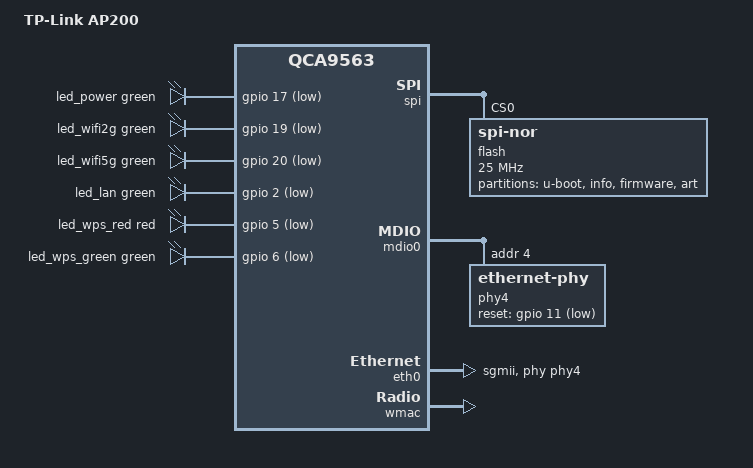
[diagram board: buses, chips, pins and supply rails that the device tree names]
// SPDX-License-Identifier: GPL-2.0-or-later OR MIT
// Device Tree für TP-Link AP200 (QCA9563, AR8033 PHY + SerDes)

#include "qca956x.dtsi"
#include <dt-bindings/gpio/gpio.h>
#include <dt-bindings/leds/common.h>

/ {
    compatible = "tplink,ap200", "qca,qca9563";
    model = "TP-Link AP200";

    aliases {
        label-mac-device = &eth0;

        led-boot     = &led_power;
        led-failsafe = &led_wps_red;
        led-running  = &led_power;
        led-upgrade  = &led_wps_red;
    };

    leds {
        compatible = "gpio-leds";

        led_power: power {
            function = LED_FUNCTION_POWER;
            color = <LED_COLOR_ID_GREEN>;
            gpios = <&gpio 17 GPIO_ACTIVE_LOW>;
            default-state = "on";
        };

        led_wifi2g: wifi2g {
            function = LED_FUNCTION_WLAN_2GHZ;
            color = <LED_COLOR_ID_GREEN>;
            gpios = <&gpio 19 GPIO_ACTIVE_LOW>;
            default-state = "off";
        };

        led_wifi5g: wifi5g {
            function = LED_FUNCTION_WLAN_5GHZ;
            color = <LED_COLOR_ID_GREEN>;
            gpios = <&gpio 20 GPIO_ACTIVE_LOW>;
            default-state = "off";
        };

        led_lan: lan {
            function = LED_FUNCTION_LAN;
            color = <LED_COLOR_ID_GREEN>;
            gpios = <&gpio 2 GPIO_ACTIVE_LOW>;
            default-state = "off";
        };

        led_wps_red: wps_red {
            function = LED_FUNCTION_WPS;
            color = <LED_COLOR_ID_RED>;
            gpios = <&gpio 5 GPIO_ACTIVE_LOW>;
            default-state = "off";
        };

        led_wps_green: wps_green {
            function = LED_FUNCTION_WPS;
            color = <LED_COLOR_ID_GREEN>;
            gpios = <&gpio 6 GPIO_ACTIVE_LOW>;
            default-state = "off";
        };
    };
};

/* ---------- SPI Flash und NVMEM ---------- */

&spi {
    status = "okay";

    flash@0 {
        compatible = "jedec,spi-nor";
        reg = <0>;
        spi-max-frequency = <25000000>;

        partitions {
            compatible = "fixed-partitions";
            #address-cells = <1>;
            #size-cells = <1>;

            uboot: partition@0 {
                label = "u-boot";
                reg = <0x000000 0x10000>;
                read-only;
            };

            partition@10000 {
                label = "info";
                reg = <0x10000 0x10000>;
                read-only;

                nvmem-layout {
                    compatible = "fixed-layout";
                    #address-cells = <1>;
                    #size-cells = <1>;

                    macaddr_info_8: macaddr@8 {
                        compatible = "mac-base";
                        reg = <0x8 0x6>;
                        #nvmem-cell-cells = <1>;
                    };
                };
            };

            firmware: partition@20000 {
                label = "firmware";
                reg = <0x020000 0x7d0000>; /* bis vor ART */
                compatible = "denx,uimage";
            };

            partition@7f0000 {
                label = "art";
                reg = <0x7f0000 0x010000>;
                read-only;

                nvmem-layout {
                    compatible = "fixed-layout";
                    #address-cells = <1>;
                    #size-cells = <1>;

                    cal_art_1000: calibration@1000 {
                        reg = <0x1000 0x440>;
                    };

                    cal_art_5000: calibration@5000 {
                        reg = <0x5000 0x844>;
                    };
                };
            };
        };
    };
};

/* ---------- Ethernet ---------- */

&pinmux {
	mdio_pins: mdio_pins {
		pinctrl-single,bits = <
            /* GPIO3 -> GE0_MDC */
            0x0  0x21000000 0xff000000

            /* GPIO4 -> GE0_MDO */
            0x4  0x00000020 0x000000ff

            /* GE0_MDI -> GPIO4 */
            0x24 0x00040000 0x00ff0000
        >;
	};
};

&mdio0 {
	status = "okay";

	pinctrl-names = "default";
	pinctrl-0 = <&mdio_pins>;

    phy4: ethernet-phy@4 {
		reg = <4>;
		reset-gpios = <&gpio 11 GPIO_ACTIVE_LOW>;
	};
};


&eth0 {
    status = "okay";
    phy-mode = "sgmii";
    phy-handle = <&phy4>;

    // Vendor SerDes / PLL Konfiguration
    pll-data = <0x06000000 0x00000101 0x00001919>;
    phy-mask = <0x10>;

    // Erzwingt SerDes Init im Kernel
    qca956x-serdes-fixup;

    // MAC-Adresse aus NVMEM
    nvmem-cells = <&macaddr_info_8 0>;
    nvmem-cell-names = "mac-address";

	gmac-config {
		device = <&gmac>;
	};

};


/* ---------- Wireless ---------- */

&wmac {
    status = "okay";
    nvmem-cells = <&macaddr_info_8 0>, <&cal_art_1000>;
    nvmem-cell-names = "mac-address", "calibration";
};
